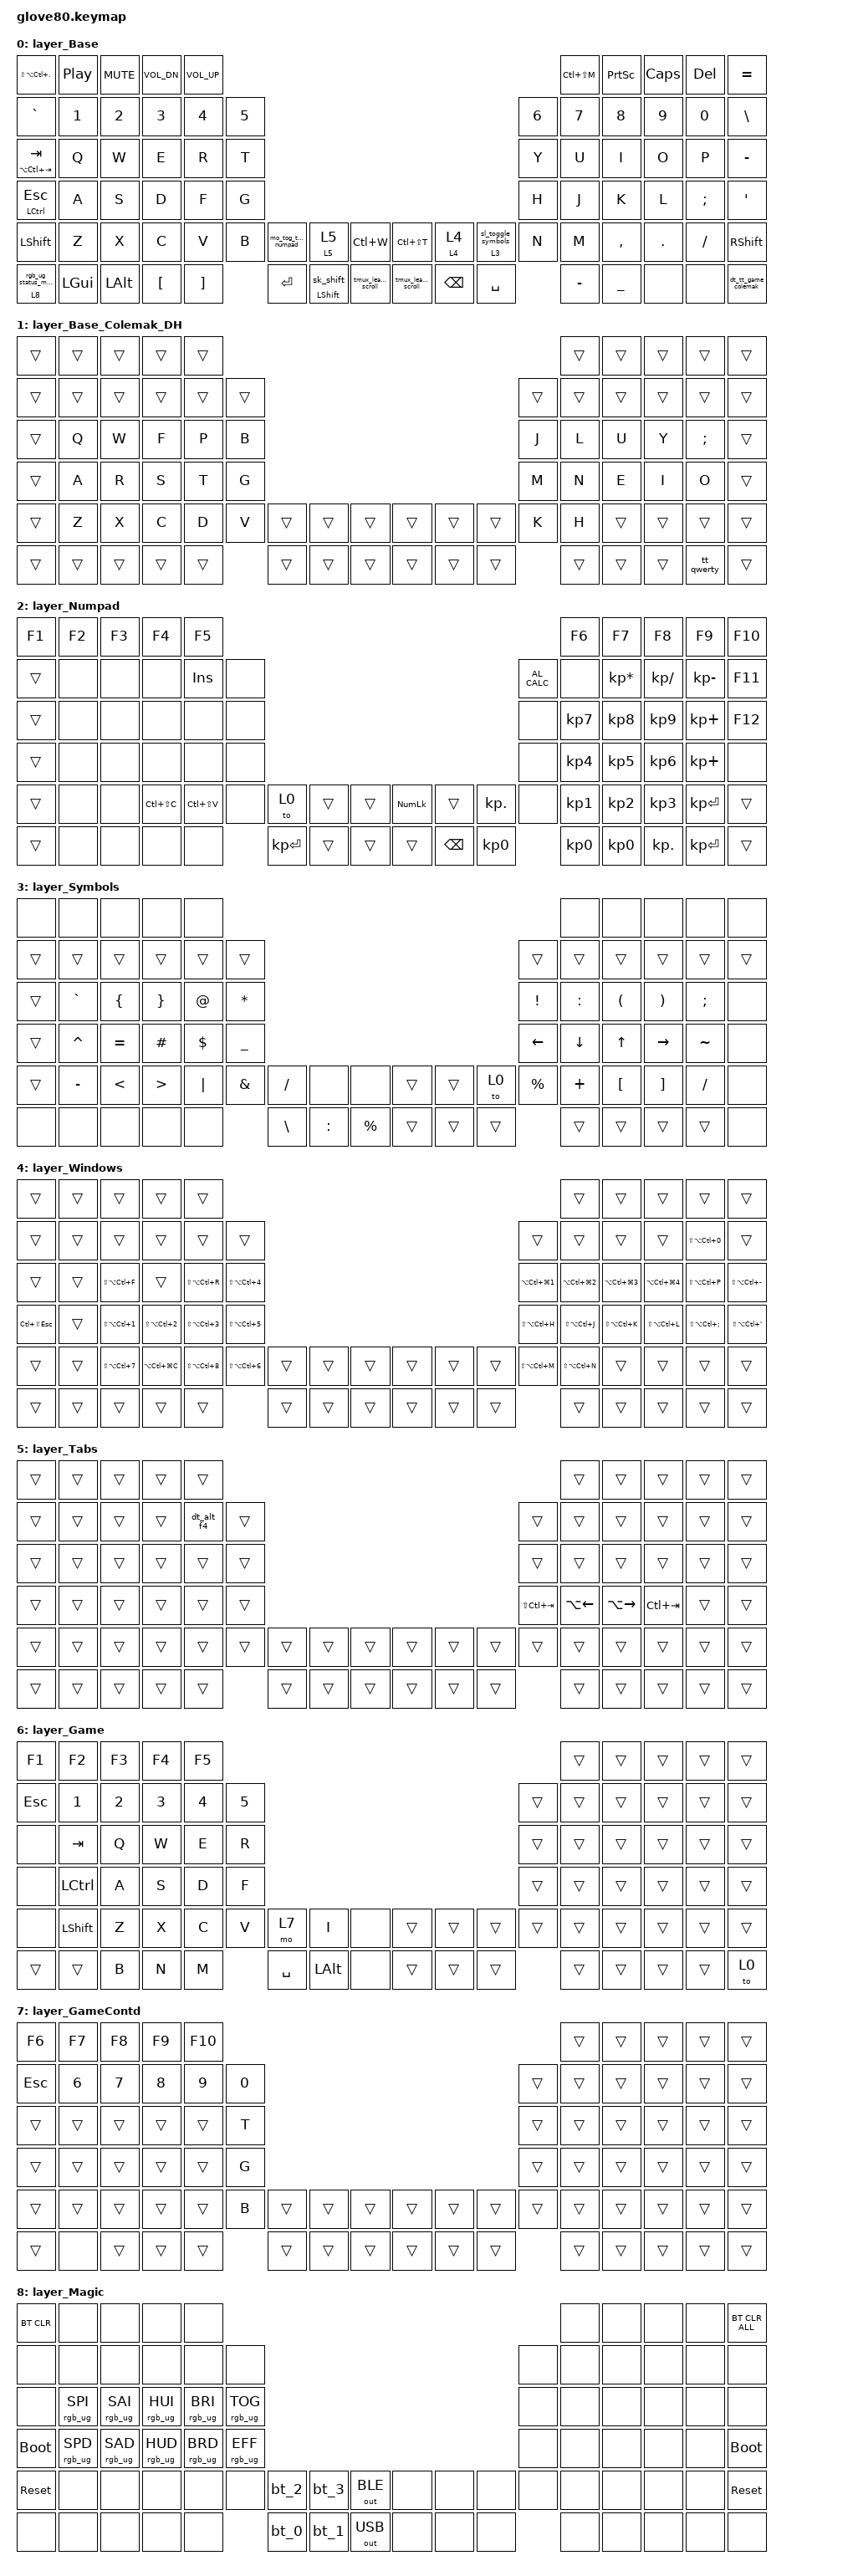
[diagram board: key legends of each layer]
/*
 * Copyright (c) 2020 The ZMK Contributors
 * Copyright (c) 2023 Innaworks Development Limited, trading as MoErgo
 *
 * SPDX-License-Identifier: MIT
 */
/* THIS FILE WAS GENERATED BY GLOVE80 LAYOUT EDITOR
 *
 * This file was generated automatically. You may or may not want to
 * edit it directly.
 */
/* Include all behaviour includes needed */

#include <behaviors.dtsi>
#include <dt-bindings/zmk/bt.h>
#include <dt-bindings/zmk/keys.h>
#include <dt-bindings/zmk/keys.h>
#include <dt-bindings/zmk/outputs.h>
#include <dt-bindings/zmk/rgb.h>

/* Automatically generated layer name #define */

#define LAYER_Base 0
#define LAYER_Numpad 1
#define LAYER_Media 2
#define LAYER_Symbols 3
#define LAYER_Game 4
#define LAYER_GameContd 5
#define LAYER_Magic 6

/* To deal with the situation where there is no Lower layer, to keep &lower happy */

#ifndef LAYER_Lower

#define LAYER_Lower 0

#endif

/* Custom Device-tree */

&caps_word {
    continue-list = <
    UNDERSCORE MINUS
    BACKSPACE DELETE
    N1 N2 N3 N4 N5 N6 N7 N8 N9 N9 N0
    >;
};

&sl { release-after-ms = <1000>; };

&sk {
    release-after-ms = <1500>;
    quick-release;
};

/* Glove80 system behavior & macros */

/ {
    behaviors {
        // For the "layer" key, it'd nice to be able to use it as either a shift or a toggle.
        // Configure it as a tap dance, so the first tap (or hold) is a &mo and the second tap is a &to

        lower: lower {
            compatible = "zmk,behavior-tap-dance";
            label = "LAYER_TAP_DANCE";
            #binding-cells = <0>;
            tapping-term-ms = <200>;
            bindings = <&mo 0>, <&to 0>;
        };
    };
};

/ {
    macros {
        rgb_ug_status_macro: rgb_ug_status_macro {
            label = "RGB_UG_STATUS";
            compatible = "zmk,behavior-macro";
            #binding-cells = <0>;
            bindings = <&rgb_ug RGB_STATUS>;
        };
    };
};

/ {
    #ifdef BT_DISC_CMD

    behaviors {
        bt_0: bt_0 {
            compatible = "zmk,behavior-tap-dance";
            label = "BT_0";
            #binding-cells = <0>;
            tapping-term-ms = <200>;
            bindings = <&bt_select_0>, <&bt BT_DISC 0>;
        };

        bt_1: bt_1 {
            compatible = "zmk,behavior-tap-dance";
            label = "BT_1";
            #binding-cells = <0>;
            tapping-term-ms = <200>;
            bindings = <&bt_select_1>, <&bt BT_DISC 1>;
        };

        bt_2: bt_2 {
            compatible = "zmk,behavior-tap-dance";
            label = "BT_2";
            #binding-cells = <0>;
            tapping-term-ms = <200>;
            bindings = <&bt_select_2>, <&bt BT_DISC 2>;
        };

        bt_3: bt_3 {
            compatible = "zmk,behavior-tap-dance";
            label = "BT_3";
            #binding-cells = <0>;
            tapping-term-ms = <200>;
            bindings = <&bt_select_3>, <&bt BT_DISC 3>;
        };
    };

    macros {
        bt_select_0: bt_select_0 {
            label = "BT_SELECT_0";
            compatible = "zmk,behavior-macro";
            #binding-cells = <0>;
            bindings = <&out OUT_BLE &bt BT_SEL 0>;
        };

        bt_select_1: bt_select_1 {
            label = "BT_SELECT_1";
            compatible = "zmk,behavior-macro";
            #binding-cells = <0>;
            bindings = <&out OUT_BLE &bt BT_SEL 1>;
        };

        bt_select_2: bt_select_2 {
            label = "BT_SELECT_2";
            compatible = "zmk,behavior-macro";
            #binding-cells = <0>;
            bindings = <&out OUT_BLE &bt BT_SEL 2>;
        };

        bt_select_3: bt_select_3 {
            label = "BT_SELECT_3";
            compatible = "zmk,behavior-macro";
            #binding-cells = <0>;
            bindings = <&out OUT_BLE &bt BT_SEL 3>;
        };
    };

    #else

    macros {
        bt_0: bt_0 {
            label = "BT_0";
            compatible = "zmk,behavior-macro";
            #binding-cells = <0>;
            bindings = <&out OUT_BLE &bt BT_SEL 0>;
        };

        bt_1: bt_1 {
            label = "BT_1";
            compatible = "zmk,behavior-macro";
            #binding-cells = <0>;
            bindings = <&out OUT_BLE &bt BT_SEL 1>;
        };

        bt_2: bt_2 {
            label = "BT_2";
            compatible = "zmk,behavior-macro";
            #binding-cells = <0>;
            bindings = <&out OUT_BLE &bt BT_SEL 2>;
        };

        bt_3: bt_3 {
            label = "BT_3";
            compatible = "zmk,behavior-macro";
            #binding-cells = <0>;
            bindings = <&out OUT_BLE &bt BT_SEL 3>;
        };
    };

    #endif
};

/ {
    behaviors {
        magic: magic {
            compatible = "zmk,behavior-hold-tap";
            label = "MAGIC_HOLD_TAP";
            #binding-cells = <2>;
            flavor = "tap-preferred";
            tapping-term-ms = <200>;
            bindings = <&mo>, <&rgb_ug_status_macro>;
        };
    };
};

/* #define for key positions */

#define POS_LH_T1 52
#define POS_LH_T2 53
#define POS_LH_T3 54
#define POS_LH_T4 69
#define POS_LH_T5 70
#define POS_LH_T6 71
#define POS_LH_C1R2 15
#define POS_LH_C1R3 27
#define POS_LH_C1R4 39
#define POS_LH_C1R5 51
#define POS_LH_C2R1 4
#define POS_LH_C2R2 14
#define POS_LH_C2R3 26
#define POS_LH_C2R4 38
#define POS_LH_C2R5 50
#define POS_LH_C2R6 68
#define POS_LH_C3R1 3
#define POS_LH_C3R2 13
#define POS_LH_C3R3 25
#define POS_LH_C3R4 37
#define POS_LH_C3R5 49
#define POS_LH_C3R6 67
#define POS_LH_C4R1 2
#define POS_LH_C4R2 12
#define POS_LH_C4R3 24
#define POS_LH_C4R4 36
#define POS_LH_C4R5 48
#define POS_LH_C4R6 66
#define POS_LH_C5R1 1
#define POS_LH_C5R2 11
#define POS_LH_C5R3 23
#define POS_LH_C5R4 35
#define POS_LH_C5R5 47
#define POS_LH_C5R6 65
#define POS_LH_C6R1 0
#define POS_LH_C6R2 10
#define POS_LH_C6R3 22
#define POS_LH_C6R4 34
#define POS_LH_C6R5 46
#define POS_LH_C6R6 64
#define POS_RH_T1 57
#define POS_RH_T2 56
#define POS_RH_T3 55
#define POS_RH_T4 74
#define POS_RH_T5 73
#define POS_RH_T6 72
#define POS_RH_C1R2 16
#define POS_RH_C1R3 28
#define POS_RH_C1R4 40
#define POS_RH_C1R5 58
#define POS_RH_C2R1 5
#define POS_RH_C2R2 17
#define POS_RH_C2R3 29
#define POS_RH_C2R4 41
#define POS_RH_C2R5 59
#define POS_RH_C2R6 75
#define POS_RH_C3R1 6
#define POS_RH_C3R2 18
#define POS_RH_C3R3 30
#define POS_RH_C3R4 42
#define POS_RH_C3R5 60
#define POS_RH_C3R6 76
#define POS_RH_C4R1 7
#define POS_RH_C4R2 19
#define POS_RH_C4R3 31
#define POS_RH_C4R4 43
#define POS_RH_C4R5 61
#define POS_RH_C4R6 77
#define POS_RH_C5R1 8
#define POS_RH_C5R2 20
#define POS_RH_C5R3 32
#define POS_RH_C5R4 44
#define POS_RH_C5R5 62
#define POS_RH_C5R6 78
#define POS_RH_C6R1 9
#define POS_RH_C6R2 21
#define POS_RH_C6R3 33
#define POS_RH_C6R4 45
#define POS_RH_C6R5 63
#define POS_RH_C6R6 79

/* Custom Defined Behaviors */

/ {
    macros {
        // Sends ctrl-a

        tmux_scroll: tmux_scroll {
            label = "tmux_scroll";
            compatible = "zmk,behavior-macro";
            #binding-cells = <0>;
            wait-ms = <40>;
            tap-ms = <40>;
            bindings = <&kp LC(A) &kp LBKT>;
        };

        // Sends "../"

        up_directory: up_directory {
            label = "up_directory";
            compatible = "zmk,behavior-macro";
            #binding-cells = <0>;
            bindings = <&macro_tap>, <&kp DOT &kp DOT &kp SLASH>;
        };

        // Sends {} followed by left arrow

        brackets_pair: brackets_pair {
            label = "brackets_pair";
            compatible = "zmk,behavior-macro";
            #binding-cells = <0>;
            bindings = <&macro_tap>, <&kp LBKT &kp RBKT &kp LEFT>;
        };

        // Sends [] followed by left arrow

        braces_pair: braces_pair {
            label = "braces_pair";
            compatible = "zmk,behavior-macro";
            #binding-cells = <0>;
            bindings = <&macro_tap>, <&kp LS(LBKT) &kp LS(RBKT) &kp LEFT>;
        };

        // Sends () followed by left arrow

        parens_pair: parens_pair {
            label = "parens_pair";
            compatible = "zmk,behavior-macro";
            #binding-cells = <0>;
            bindings = <&macro_tap>, <&kp LPAR &kp RPAR &kp LEFT>;
        };

        // Sends <> followed by left arrow

        lt_gt_pair: lt_gt_pair {
            label = "lt_gt_pair";
            compatible = "zmk,behavior-macro";
            #binding-cells = <0>;
            bindings = <&macro_tap>, <&kp LT &kp GT &kp LEFT>;
        };

        // Writes a helm-style comment and places cursor in the center: {{- /* | */ -}}

        helm_comment_multi_line: helm_comment {
            label = "helm_comment";
            compatible = "zmk,behavior-macro";
            #binding-cells = <0>;
            bindings =
                <&macro_tap>,
                <&kp LS(LBKT) &kp LS(LBKT) &kp SLASH &kp STAR &kp STAR &kp SLASH &kp LS(RBKT) &kp LS(RBKT) &kp LEFT &kp LEFT &kp LEFT &kp LEFT &kp ENTER &kp ENTER &kp UP_ARROW>;
        };

        triple_grave: triple_grave {
            compatible = "zmk,behavior-macro";
            #binding-cells = <0>;
            bindings = <&kp GRAVE &kp GRAVE &kp GRAVE>;
            label = "TRIPLE_GRAVE";
        };

        slash_comment: slash_comment {
            compatible = "zmk,behavior-macro";
            #binding-cells = <0>;
            bindings = <&kp FSLH &kp FSLH &kp SPACE>;
            label = "SLASH_COMMENT";
        };

        helm_comment_single_line: helm_comment_single_line {
            compatible = "zmk,behavior-macro";
            label = "HELM_COMMENT_SINGLE_LINE";
            #binding-cells = <0>;
            bindings =
                <&macro_tap>,
                <&kp LS(LBKT) &kp LS(LBKT) &kp MINUS &kp SPACE &kp SLASH &kp STAR &kp SPACE &kp SPACE &kp STAR &kp SLASH &kp SPACE &kp MINUS &kp LS(RBKT) &kp LS(RBKT) &kp LEFT &kp LEFT &kp LEFT &kp LEFT &kp LEFT &kp LEFT &kp LEFT>;
        };

        helm_func: helm_func {
            compatible = "zmk,behavior-macro";
            label = "HELM_FUNC";
            #binding-cells = <0>;
            bindings =
                <&macro_tap>,
                <&kp LS(LBKT) &kp LS(LBKT) &kp MINUS &kp SPACE &kp SPACE &kp MINUS &kp LS(RBKT) &kp LS(RBKT) &kp LEFT &kp LEFT &kp LEFT &kp LEFT>;
        };

        go_declare: go_declare {
            compatible = "zmk,behavior-macro";
            #binding-cells = <0>;
            bindings = <&kp COLON &kp EQUAL &kp SPACE>;
            label = "GO_DECLARE";
        };

        bash_declare: new_macro {
            compatible = "zmk,behavior-macro";
            #binding-cells = <0>;
            bindings = <&kp POUND &kp EXCL>;
            label = "NEW_MACRO";
        };

        go_empty_set: go_empty_set {
            compatible = "zmk,behavior-macro";
            #binding-cells = <0>;
            bindings = <&kp DLLR &kp UNDER &kp SPACE>;
            label = "GO_EMPTY_SET";
        };

        go_not_equal: go_not_equal {
            compatible = "zmk,behavior-macro";
            #binding-cells = <0>;
            bindings = <&kp EXCL &kp EQUAL &kp SPACE>;
            label = "GO_NOT_EQUAL";
        };

        single_quote_pair: single_quote_pair {
            compatible = "zmk,behavior-macro";
            #binding-cells = <0>;
            bindings = <&kp SQT &kp SQT &kp LEFT>;
            label = "SINGLE_QUOTE_PAIR";
        };

        double_quote_pair: double_quote_pair {
            compatible = "zmk,behavior-macro";
            #binding-cells = <0>;
            bindings = <&kp DOUBLE_QUOTES &kp DOUBLE_QUOTES &kp LEFT>;
            label = "DOUBLE_QUOTE_PAIR";
        };
    };

    behaviors {
        // Send regular shift on tap, enable CAPSWORD on double-tap

        shift_capsword: shift_capsword {
            label = "SHIFT_CAPSWORD";
            compatible = "zmk,behavior-tap-dance";
            #binding-cells = <0>;
            tapping-term-ms = <200>;
            bindings = <&kp LSHIFT>, <&caps_word>;
        };

        // Send tab on tap, send ctrl-alt-tab on double-tap

        auto_tab: auto_tab {
            compatible = "zmk,behavior-hold-tap";
            #binding-cells = <2>;
            tapping_term_ms = <350>;
            quick_tap_ms = <0>;
            global-quick-tap;
            flavor = "tap-preferred";
            bindings = <&kp>, <&kp>;
        };

        // Momentary layer on hold, sticky layer on tap

        #define MO_SL(layer) &mo_sl layer

        sl_tap_hold_symbols: sl_tap_hold_symbols {
            compatible = "zmk,behavior-hold-tap";
            #binding-cells = <2>;
            flavor = "hold-preferred";
            tapping-term-ms = <200>;
            bindings = <&mo>, <&sl_toggle_symbols>;

            label = "SL_TAP_HOLD_SYMBOLS";
            quick-tap-ms = <200>;
        };

        stickyshift_tap_hold: stickyshift_tap_hold {
            compatible = "zmk,behavior-hold-tap";
            label = "STICKYSHIFT_TAP_HOLD";
            bindings = <&kp>, <&sk_shift>;

            #binding-cells = <2>;
            tapping-term-ms = <200>;
            quick-tap-ms = <200>;
        };

        sk_shift: sk_shift {
            compatible = "zmk,behavior-tap-dance";
            label = "SK_SHIFT";
            #binding-cells = <0>;
            bindings = <&sk LEFT_SHIFT>, <&caps_word>, <&kt LSHIFT>;
        };

        sl_toggle_symbols: sl_toggle_symbols {
            compatible = "zmk,behavior-tap-dance";
            label = "SL_TOGGLE_SYMBOLS";
            #binding-cells = <0>;
            bindings = <&sl 3>, <&to 3>;
        };

        sl_toggle_numpad: sl_toggle_numpad {
            compatible = "zmk,behavior-tap-dance";
            label = "SL_TOGGLE_NUMPAD";
            #binding-cells = <0>;
            bindings = <&sl 2>, <&to 2>;
        };

        layer_mo_tog: layer_mo_tog {
            compatible = "zmk,behavior-hold-tap";
            label = "LAYER_MO_TOG";
            bindings = <&mo>, <&tog>;

            #binding-cells = <2>;
            tapping-term-ms = <200>;
        };

        capsword_tap_toggle: capsword_tap_toggle {
            compatible = "zmk,behavior-hold-tap";
            label = "CAPSWORD_TAP_TOGGLE";
            bindings = <&kp>, <&caps_word>;

            #binding-cells = <2>;
            tapping-term-ms = <200>;
        };

        sl_tap_hold_numpad: sl_tap_hold_numpad {
            compatible = "zmk,behavior-hold-tap";
            #binding-cells = <2>;
            flavor = "hold-preferred";
            tapping-term-ms = <200>;
            bindings = <&mo>, <&sl_toggle_numpad>;

            label = "SL_TAP_HOLD_NUMPAD";
            quick-tap-ms = <200>;
        };

        hyper_meh_tapdance: hyper_meh_tapdance {
            compatible = "zmk,behavior-tap-dance";
            label = "HYPER_MEH_TAPDANCE";
            #binding-cells = <0>;
            bindings = <&kp LA(LC(LEFT_SHIFT))>, <&kp LA(LC(LEFT_GUI))>;
        };

        layer_mo_sl: layer_mo_sl {
            compatible = "zmk,behavior-hold-tap";
            label = "LAYER_MO_SL";
            bindings = <&mo>, <&sl>;

            #binding-cells = <2>;
            tapping-term-ms = <200>;
        };

        tmux_leader_scroll: tmux_leader_scroll {
            compatible = "zmk,behavior-tap-dance";
            label = "TMUX_LEADER_SCROLL";
            #binding-cells = <0>;
            tapping-term-ms = <350>;
            bindings = <&kp LC(A)>, <&tmux_scroll>;
        };

        mt_quicktapterm: mt_quicktapterm {
            compatible = "zmk,behavior-hold-tap";
            label = "MT_QUICKTAPTERM";
            bindings = <&kp>, <&kp>;

            #binding-cells = <2>;
            tapping-term-ms = <200>;
            quick-tap-ms = <100>;
            flavor = "hold-preferred";
        };

        ht_100ms: ht_100ms {
            compatible = "zmk,behavior-hold-tap";
            label = "HT_100MS";
            bindings = <&kp>, <&kp>;

            #binding-cells = <2>;
            tapping-term-ms = <100>;
            quick-tap-ms = <0>;
            flavor = "hold-preferred";
        };

        dt_tt_game_colemak: dt_tt_game_colemak {
            compatible = "zmk,behavior-tap-dance";
            label = "DT_TT_GAME_COLEMAK";
            #binding-cells = <0>;
            bindings = <&none>, <&to 6>, <&to 1>;
        };

        tapdance_quote_combos: tapdance_quote_combos {
            compatible = "zmk,behavior-tap-dance";
            label = "TAPDANCE_QUOTE_COMBOS";
            #binding-cells = <0>;
            bindings = <&single_quote_pair>, <&double_quote_pair>;
        };

        hm_balanced: hm_balanced {
            compatible = "zmk,behavior-hold-tap";
            label = "HM_BALANCED";
            bindings = <&kp>, <&kp>;

            #binding-cells = <2>;
            flavor = "balanced";
            tapping-term-ms = <50>;
        };

        mo_tog_tapdance_numpad: mo_tog_tapdance_numpad {
            compatible = "zmk,behavior-tap-dance";
            label = "MO_TOG_TAPDANCE_NUMPAD";
            #binding-cells = <0>;
            bindings = <&mo 2>, <&tog 2>;
        };

        hm_left: hm_left {
            compatible = "zmk,behavior-hold-tap";
            label = "HM_LEFT";
            bindings = <&kp>, <&kp>;

            #binding-cells = <2>;
            tapping-term-ms = <200>;
            quick-tap-ms = <175>;
            require-prior-idle-ms = <75>;
            flavor = "balanced";
            hold-trigger-key-positions = <52 53 54 69 70 71 74 72 55 56 57 73 5 6 7 8 9 17 18 19 20 21 29 30 31 32 33 41 42 43 44 45 59 60 61 62 63 75 76 77 78 79 16 28 40 58>;
            hold-trigger-on-release;
        };

        hm_right: hm_right {
            compatible = "zmk,behavior-hold-tap";
            label = "HM_RIGHT";
            bindings = <&kp>, <&kp>;

            #binding-cells = <2>;
            tapping-term-ms = <200>;
            quick-tap-ms = <175>;
            require-prior-idle-ms = <75>;
            flavor = "balanced";
            hold-trigger-key-positions = <0 1 2 3 4 10 11 12 13 14 15 22 23 24 25 26 27 34 35 36 37 38 39 46 47 48 49 50 51 52 53 54 64 65 66 67 68 69 70 71 74 72 55 56 57 73>;
            hold-trigger-on-release;
        };

        tt_colemak: tt_colemak {
            compatible = "zmk,behavior-tap-dance";
            label = "TT_COLEMAK";
            #binding-cells = <0>;
            bindings = <&none>, <&none>, <&to 1>;
        };

        tt_qwerty: tt_qwerty {
            compatible = "zmk,behavior-tap-dance";
            label = "TT_QWERTY";
            #binding-cells = <0>;
            bindings = <&none>, <&none>, <&to 0>;
        };

        dt_alt_f4: dt_alt_f4 {
            compatible = "zmk,behavior-tap-dance";
            label = "DT_ALT_F4";
            #binding-cells = <0>;
            bindings = <&none>, <&kp LA(F4)>;
        };
    };

    combos {
        compatible = "zmk,combos";

        combo_helm_comment_multi_line {
            timeout-ms = <50>;
            key-positions = <40 43 49>; // "HEL"
            bindings = <&helm_comment_multi_line>;
            layers = <3>;
        };

        combo_helm_comment_single_line {
            bindings = <&helm_comment_single_line>;
            key-positions = <40 43 36>;
            timeout-ms = <50>;
            layers = <3>;
        };

        combo_helm_func {
            bindings = <&helm_func>;
            key-positions = <40 43 38>;
            timeout-ms = <50>;
            layers = <3>;
        };

        combo_go_declare {
            bindings = <&go_declare>;
            key-positions = <36 70>;
            layers = <3>;
        };

        combo_go_empty_set {
            bindings = <&go_empty_set>;
            key-positions = <38 39>;
            layers = <3>;
        };

        combo_go_not_equal {
            bindings = <&go_not_equal>;
            key-positions = <28 36>;
            layers = <3>;
        };

        combo_braces_pair {
            bindings = <&braces_pair>;
            key-positions = <24 25>;
            layers = <3>;
        };

        combo_lt_gt_pair {
            bindings = <&lt_gt_pair>;
            key-positions = <48 49>;
            layers = <3>;
        };

        combo_brackets_pair {
            bindings = <&brackets_pair>;
            key-positions = <60 61>;
            layers = <3>;
        };

        combo_parens_pair {
            bindings = <&parens_pair>;
            key-positions = <30 31>;
            layers = <3>;
        };

        combo_up_dir {
            bindings = <&up_directory>;
            key-positions = <62 61>;
        };
    };
};

/* Automatically generated keymap */

/ {
    keymap {
        compatible = "zmk,keymap";

        layer_Base {
            bindings = <
&kp LS(LA(LC(DOT)))        &kp C_PLAY_PAUSE  &kp C_MUTE    &kp C_VOL_DN      &kp C_VOL_UP                                                                                                                                                                          &kp LC(LS(M))  &kp PRINTSCREEN  &kp CAPSLOCK  &kp DEL        &kp EQUAL
&kp GRAVE                  &kp N1            &kp N2        &kp N3            &kp N4             &kp N5                                                                                                                                                     &kp N6  &kp N7         &kp N8           &kp N9        &kp N0         &kp BACKSLASH
&auto_tab LA(LC(TAB)) TAB  &kp Q             &kp W         &kp E             &kp R              &kp T                                                                                                                                                      &kp Y   &kp U          &kp I            &kp O         &kp P          &kp MINUS
&mt LCTRL ESCAPE           &kp A             &kp S         &kp D             &kp F              &kp G                                                                                                                                                      &kp H   &kp J          &kp K            &kp L         &kp SEMICOLON  &kp SINGLE_QUOTE
&kp LSHIFT                 &kp Z             &kp X         &kp C             &kp V              &kp B   &mo_tog_tapdance_numpad  &layer_mo_sl 5 5                    &kp LC(W)            &kp LC(LS(T))        &layer_mo_sl 4 4  &sl_tap_hold_symbols 3 0  &kp N   &kp M          &kp COMMA        &kp DOT       &kp FSLH       &kp RSHIFT
&magic 8 0                 &kp LEFT_GUI      &kp LEFT_ALT  &kp LEFT_BRACKET  &kp RIGHT_BRACKET          &kp RET                  &stickyshift_tap_hold LEFT_SHIFT 0  &tmux_leader_scroll  &tmux_leader_scroll  &kp BSPC          &kp SPACE                         &kp MINUS      &kp UNDER        &none         &none          &dt_tt_game_colemak
            >;
        };

        layer_Base_Colemak_DH {
            bindings = <
&trans  &trans  &trans  &trans  &trans                                                                  &trans  &trans  &trans  &trans      &trans
&trans  &trans  &trans  &trans  &trans  &trans                                                  &trans  &trans  &trans  &trans  &trans      &trans
&trans  &kp Q   &kp W   &kp F   &kp P   &kp B                                                   &kp J   &kp L   &kp U   &kp Y   &kp SEMI    &trans
&trans  &kp A   &kp R   &kp S   &kp T   &kp G                                                   &kp M   &kp N   &kp E   &kp I   &kp O       &trans
&trans  &kp Z   &kp X   &kp C   &kp D   &kp V   &trans  &trans  &trans  &trans  &trans  &trans  &kp K   &kp H   &trans  &trans  &trans      &trans
&trans  &trans  &trans  &trans  &trans          &trans  &trans  &trans  &trans  &trans  &trans          &trans  &trans  &trans  &tt_qwerty  &trans
            >;
        };

        layer_Numpad {
            bindings = <
&kp F1  &kp F2  &kp F3  &kp F4         &kp F5                                                                                                         &kp F6     &kp F7           &kp F8        &kp F9        &kp F10
&trans  &none   &none   &none          &kp INS        &none                                                                            &kp C_AL_CALC  &none      &kp KP_MULTIPLY  &kp KP_SLASH  &kp KP_MINUS  &kp F11
&trans  &none   &none   &none          &none          &none                                                                            &none          &kp KP_N7  &kp KP_N8        &kp KP_N9     &kp KP_PLUS   &kp F12
&trans  &none   &none   &none          &none          &none                                                                            &none          &kp KP_N4  &kp KP_N5        &kp KP_N6     &kp KP_PLUS   &none
&trans  &none   &none   &kp LC(LS(C))  &kp LC(LS(V))  &none  &to 0         &trans  &trans  &kp KP_NUM  &trans         &kp KP_DOT       &none          &kp KP_N1  &kp KP_N2        &kp KP_N3     &kp KP_ENTER  &trans
&trans  &none   &none   &none          &none                 &kp KP_ENTER  &trans  &trans  &trans      &kp BACKSPACE  &kp KP_NUMBER_0                 &kp KP_N0  &kp KP_N0        &kp KP_DOT    &kp KP_ENTER  &trans
            >;
        };

        layer_Symbols {
            bindings = <
&none   &none      &none           &none             &none                                                                                                  &none      &none                 &none                  &none      &none
&trans  &trans     &trans          &trans            &trans      &trans                                                                        &trans       &trans     &trans                &trans                 &trans     &trans
&trans  &kp GRAVE  &kp LEFT_BRACE  &kp RIGHT_BRACE   &kp AT      &kp STAR                                                                      &kp EXCL     &kp COLON  &kp LEFT_PARENTHESIS  &kp RIGHT_PARENTHESIS  &kp SEMI   &none
&trans  &kp CARET  &kp EQUAL       &kp HASH          &kp DOLLAR  &kp UNDER                                                                     &kp LEFT     &kp DOWN   &kp UP                &kp RIGHT              &kp TILDE  &none
&trans  &kp MINUS  &kp LESS_THAN   &kp GREATER_THAN  &kp PIPE    &kp AMPERSAND  &kp SLASH      &none      &none        &trans  &trans  &to 0   &kp PERCENT  &kp PLUS   &kp LEFT_BRACKET      &kp RIGHT_BRACKET      &kp SLASH  &none
&none   &none      &none           &none             &none                      &kp BACKSLASH  &kp COLON  &kp PERCENT  &trans  &trans  &trans               &trans     &trans                &trans                 &trans     &none
            >;
        };

        layer_Windows {
            bindings = <
&trans              &trans  &trans                    &trans                    &trans                                                                                                                        &trans                    &trans                    &trans                    &trans                     &trans
&trans              &trans  &trans                    &trans                    &trans                    &trans                                                                    &trans                    &trans                    &trans                    &trans                    &kp LS(LA(LC(N0)))         &trans
&trans              &trans  &kp LS(LA(LC(F)))         &trans                    &kp LS(LA(LC(R)))         &kp LS(LA(LC(NUMBER_4)))                                                  &kp LA(LC(LG(NUMBER_1)))  &kp LA(LC(LG(NUMBER_2)))  &kp LA(LC(LG(NUMBER_3)))  &kp LA(LC(LG(NUMBER_4)))  &kp LS(LA(LC(P)))          &kp LS(LA(LC(MINUS)))
&kp LC(LS(ESCAPE))  &trans  &kp LS(LA(LC(NUMBER_1)))  &kp LS(LA(LC(NUMBER_2)))  &kp LS(LA(LC(NUMBER_3)))  &kp LS(LA(LC(N5)))                                                        &kp LS(LA(LC(H)))         &kp LS(LA(LC(J)))         &kp LS(LA(LC(K)))         &kp LS(LA(LC(L)))         &kp LS(LA(LC(SEMICOLON)))  &kp LS(LA(LC(SQT)))
&trans              &trans  &kp LS(LA(LC(N7)))        &kp LA(LC(LG(C)))         &kp LS(LA(LC(N8)))        &kp LS(LA(LC(NUMBER_6)))  &trans  &trans  &trans  &trans  &trans  &trans  &kp LS(LA(LC(M)))         &kp LS(LA(LC(N)))         &trans                    &trans                    &trans                     &trans
&trans              &trans  &trans                    &trans                    &trans                                              &trans  &trans  &trans  &trans  &trans  &trans                            &trans                    &trans                    &trans                    &trans                     &trans
            >;
        };

        layer_Tabs {
            bindings = <
&trans  &trans  &trans  &trans  &trans                                                                               &trans        &trans         &trans       &trans  &trans
&trans  &trans  &trans  &trans  &dt_alt_f4  &trans                                                  &trans           &trans        &trans         &trans       &trans  &trans
&trans  &trans  &trans  &trans  &trans      &trans                                                  &trans           &trans        &trans         &trans       &trans  &trans
&trans  &trans  &trans  &trans  &trans      &trans                                                  &kp LS(LC(TAB))  &kp LA(LEFT)  &kp LA(RIGHT)  &kp LC(TAB)  &trans  &trans
&trans  &trans  &trans  &trans  &trans      &trans  &trans  &trans  &trans  &trans  &trans  &trans  &trans           &trans        &trans         &trans       &trans  &trans
&trans  &trans  &trans  &trans  &trans              &trans  &trans  &trans  &trans  &trans  &trans                   &trans        &trans         &trans       &trans  &trans
            >;
        };

        layer_Game {
            bindings = <
&kp F1   &kp F2     &kp F3  &kp F4  &kp F5                                                                      &trans  &trans  &trans  &trans  &trans
&kp ESC  &kp N1     &kp N2  &kp N3  &kp N4  &kp N5                                                      &trans  &trans  &trans  &trans  &trans  &trans
&none    &kp TAB    &kp Q   &kp W   &kp E   &kp R                                                       &trans  &trans  &trans  &trans  &trans  &trans
&none    &kp LCTRL  &kp A   &kp S   &kp D   &kp F                                                       &trans  &trans  &trans  &trans  &trans  &trans
&none    &kp LSHFT  &kp Z   &kp X   &kp C   &kp V   &mo 7      &kp I     &none  &trans  &trans  &trans  &trans  &trans  &trans  &trans  &trans  &trans
&trans   &trans     &kp B   &kp N   &kp M           &kp SPACE  &kp LALT  &none  &trans  &trans  &trans          &trans  &trans  &trans  &trans  &to 0
            >;
        };

        layer_GameContd {
            bindings = <
&kp F6   &kp F7  &kp F8  &kp F9  &kp F10                                                                  &trans  &trans  &trans  &trans  &trans
&kp ESC  &kp N6  &kp N7  &kp N8  &kp N9   &kp N0                                                  &trans  &trans  &trans  &trans  &trans  &trans
&trans   &trans  &trans  &trans  &trans   &kp T                                                   &trans  &trans  &trans  &trans  &trans  &trans
&trans   &trans  &trans  &trans  &trans   &kp G                                                   &trans  &trans  &trans  &trans  &trans  &trans
&trans   &trans  &trans  &trans  &trans   &kp B   &trans  &trans  &trans  &trans  &trans  &trans  &trans  &trans  &trans  &trans  &trans  &trans
&trans   &none   &trans  &trans  &trans           &trans  &trans  &trans  &trans  &trans  &trans          &trans  &trans  &trans  &trans  &trans
            >;
        };

        layer_Magic {
            bindings = <
&bt BT_CLR   &none            &none            &none            &none                                                                                     &none  &none  &none  &none  &bt BT_CLR_ALL
&none        &none            &none            &none            &none            &none                                                             &none  &none  &none  &none  &none  &none
&none        &rgb_ug RGB_SPI  &rgb_ug RGB_SAI  &rgb_ug RGB_HUI  &rgb_ug RGB_BRI  &rgb_ug RGB_TOG                                                   &none  &none  &none  &none  &none  &none
&bootloader  &rgb_ug RGB_SPD  &rgb_ug RGB_SAD  &rgb_ug RGB_HUD  &rgb_ug RGB_BRD  &rgb_ug RGB_EFF                                                   &none  &none  &none  &none  &none  &bootloader
&sys_reset   &none            &none            &none            &none            &none            &bt_2  &bt_3  &out OUT_BLE  &none  &none  &none  &none  &none  &none  &none  &none  &sys_reset
&none        &none            &none            &none            &none                             &bt_0  &bt_1  &out OUT_USB  &none  &none  &none         &none  &none  &none  &none  &none
            >;
        };
    };
};
